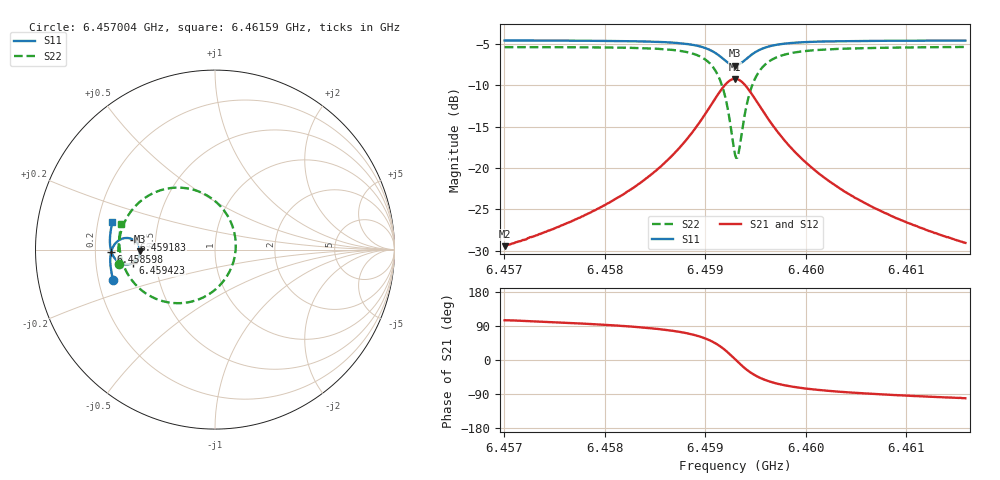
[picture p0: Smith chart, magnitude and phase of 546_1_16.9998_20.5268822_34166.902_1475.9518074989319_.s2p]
#  HZ  S  RI  R  50.00
! Rohde & Schwarz Vector Network Analyzer
! Rohde-Schwarz,ZNB20-2Port,1311601062101988,3.16
! Created: UTC 3/20/2024, 11:16:36 PM
! freq[Hz]  re:S11  im:S11  re:S21  im:S21  re:S12  im:S12  re:S22  im:S22
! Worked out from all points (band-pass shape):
!   401 points, 6.457004 GHz to 6.46159 GHz, reference 50 ohm
!   highest |S21| = -9.19 dB at 6.459297 GHz (marker M1); lowest = -29.4 dB at 6.457004 GHz (marker M2)
!   |S21| within 3 dB of the highest: 6.459068 GHz to 6.459527 GHz (458.6 kHz wide, 0.0071 % of centre)
!   lowest |S11| = -7.6 dB at 6.459297 GHz (marker M3), VSWR 2.43, Z = 20.5 - j0.458 ohm
!   |S11| at or under -10 dB: nowhere
!   |S22| runs from -18.8 to -5.3 dB; largest |S21 - S12| = 0.014
!   S11 on the Smith chart (normalised r, x): 6.457004 GHz: 0.26, -0.14; 6.458598 GHz: 0.27, -0.01; 6.459183 GHz: 0.37, +0.05; 6.459423 GHz: 0.37, -0.07; 6.46159 GHz: 0.26, +0.12
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6.4570044e9  -0.5672 -0.1699  -0.0087 0.0326  -0.0071 0.0325  -0.5334 -0.0823
6.4577725e9  -0.581 -0.1027  -0.00553 0.0507  -0.0029 0.0499  -0.5382 0.00785
6.4581967e9  -0.5838 -0.0601  0.000618 0.07  0.0038 0.0688  -0.5298 0.0753
6.4585406e9  -0.5797 -0.019  0.0146 0.099  0.0186 0.0963  -0.504 0.1532
6.4585979e9  -0.578 -0.0112  0.019 0.1059  0.023 0.1028  -0.4957 0.1697
6.4588043e9  -0.5648 0.0209  0.0468 0.1384  0.0508 0.1335  -0.4436 0.2425
6.4589533e9  -0.542 0.0472  0.0921 0.1688  0.0955 0.1622  -0.3594 0.3069
6.4590909e9  -0.4981 0.0647  0.1799 0.1852  0.1807 0.1779  -0.1992 0.3452
6.4591826e9  -0.4533 0.0543  0.2701 0.1536  0.2704 0.1479  -0.032 0.2941
6.4592514e9  -0.4243 0.022  0.3306 0.0813  0.3329 0.076  0.0838 0.1634
6.4592973e9  -0.4174 -0.00921  0.3467 0.013  0.3506 0.00613  0.1156 0.0356
6.4593087e9  -0.4178 -0.0173  0.3466 -0.0049  0.3506 -0.0125  0.1152 0.00175
6.4593317e9  -0.4215 -0.0329  0.3408 -0.0397  0.3447 -0.0488  0.1038 -0.0645
6.4593775e9  -0.4372 -0.059  0.312 -0.0997  0.3142 -0.1116  0.0453 -0.178
6.4594234e9  -0.4593 -0.0754  0.2694 -0.1408  0.2687 -0.1541  -0.0407 -0.253
6.4595151e9  -0.5029 -0.0822  0.1842 -0.1717  0.1781 -0.1833  -0.2109 -0.2985
6.4596641e9  -0.5469 -0.0616  0.0961 -0.1576  0.0876 -0.1637  -0.3792 -0.2484
6.4598246e9  -0.5683 -0.0338  0.0512 -0.1293  0.0436 -0.1322  -0.4595 -0.1755
6.4600654e9  -0.581 0.00179  0.022 -0.0976  0.0163 -0.0982  -0.5074 -0.0925
6.4603978e9  -0.5855 0.0415  0.00633 -0.0713  0.00236 -0.0708  -0.5284 -0.0155
6.4608335e9  -0.5835 0.0854  -0.00169 -0.052  -0.00439 -0.0511  -0.5327 0.0551
6.4615901e9  -0.5713 0.1525  -0.00663 -0.0347  -0.00838 -0.0337  -0.5211 0.1448
